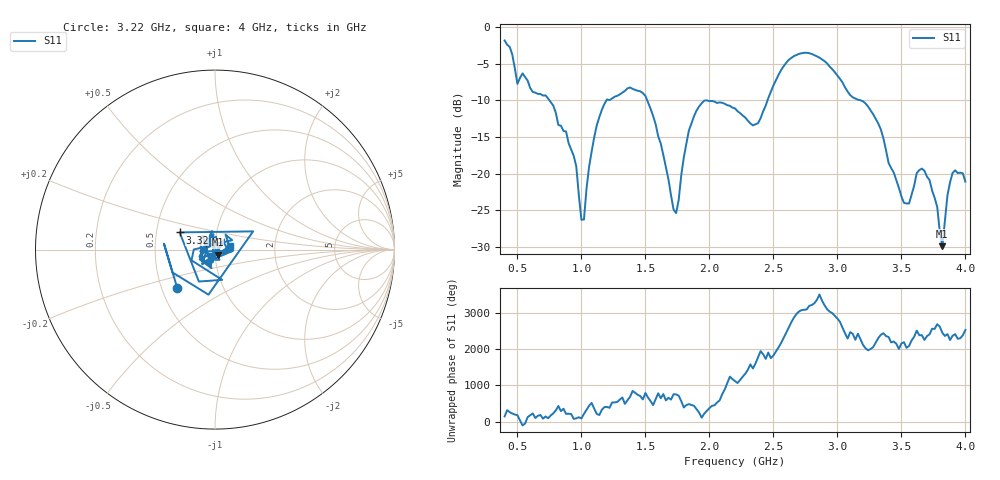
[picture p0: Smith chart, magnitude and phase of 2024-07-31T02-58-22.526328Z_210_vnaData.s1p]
!Created with skrf (http://scikit-rf.org).
# Hz S RI R 50.0
!freq ReS11 ImS11
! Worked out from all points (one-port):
!   181 points, 400 MHz to 4 GHz, reference 50 ohm
!   lowest |S11| = -29.9 dB at 3.82 GHz (marker M1), VSWR 1.07, Z = 51.3 - j2.95 ohm
!   |S11| at or under -10 dB: 749.6 MHz to 1.196 GHz (446.5 MHz wide, 45.9 % of centre); 1.514 GHz to 2.454 GHz (940.7 MHz wide, 47.4 % of centre); 3.181 GHz to end of sweep
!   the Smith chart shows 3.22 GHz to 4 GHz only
!   S11 on the Smith chart (normalised r, x): 3.22 GHz: 0.60, -0.29; 3.32 GHz: 0.66, +0.13; 4 GHz: 1.19, +0.05
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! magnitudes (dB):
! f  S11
! 400 MHz  -1.8
! 500 MHz  -7.8
! 720 MHz  -9.3
! 860 MHz  -14.2
! 960 MHz  -19.0
! 1 GHz  -26.3
! 1.02 GHz  -26.3
! 1.06 GHz  -19.1
! 1.12 GHz  -13.4
! 1.3 GHz  -9.2
! 1.5 GHz  -9.4
! 1.72 GHz  -24.9
! 1.76 GHz  -23.6
! 1.84 GHz  -14.1
! 1.9 GHz  -11.4
! 2.2 GHz  -11.1
! 2.38 GHz  -13.1
! 2.66 GHz  -4.0
! 2.9 GHz  -4.7
! 3.1 GHz  -9.3
! 3.22 GHz  -10.4
! 3.32 GHz  -13.2
! 3.56 GHz  -24.1
! 3.68 GHz  -19.6
! 3.78 GHz  -24.6
! 3.82 GHz  -29.9
! 3.9 GHz  -19.9
! 4 GHz  -21.1
